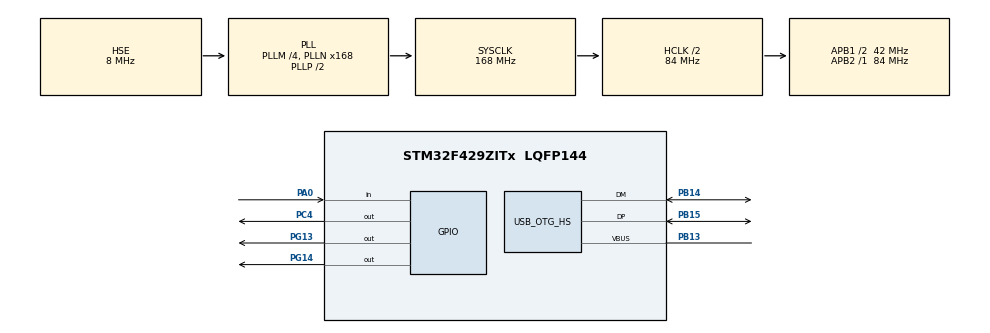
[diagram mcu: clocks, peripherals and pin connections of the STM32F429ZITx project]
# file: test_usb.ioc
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FATFS._MAX_SS=4096
Mcu.Family=STM32F4
Mcu.Name=STM32F429ZITx
Mcu.Package=LQFP144
NVIC.OTG_HS_IRQn=true\:0\:0\:false\:false\:true\:false\:true
NVIC.PriorityGroup=NVIC_PRIORITYGROUP_4
PA0/WKUP.Signal=GPIO_Input
PB13.Mode=Activate_VBUS_FS
PB13.Signal=USB_OTG_HS_VBUS
PB14.Mode=Host_FS
PB14.Signal=USB_OTG_HS_DM
PB15.Mode=Host_FS
PB15.Signal=USB_OTG_HS_DP
PC4.Signal=GPIO_Output
PG13.Signal=GPIO_Output
PG14.Signal=GPIO_Output
PH0/OSC_IN.Mode=HSE-External-Oscillator
PH0/OSC_IN.Signal=RCC_OSC_IN
PH1/OSC_OUT.Mode=HSE-External-Oscillator
PH1/OSC_OUT.Signal=RCC_OSC_OUT
ProjectManager.HeapSize=0x200
ProjectManager.StackSize=0x400
ProjectManager.TargetToolchain=MDK-ARM V5
RCC.48MHZClocksFreq_Value=48000000
RCC.AHBCLKDivider=RCC_SYSCLK_DIV2
RCC.AHBFreq_Value=84000000
RCC.APB1CLKDivider=RCC_HCLK_DIV2
RCC.APB1Freq_Value=42000000
RCC.APB1TimFreq_Value=84000000
RCC.APB2Freq_Value=84000000
RCC.APB2TimFreq_Value=84000000
RCC.CortexFreq_Value=84000000
RCC.HCLKFreq_Value=84000000
RCC.HSE_VALUE=8000000
RCC.HSI_VALUE=16000000
RCC.LSE_VALUE=32768
RCC.PLLM=4
RCC.PLLN=168
RCC.PLLQ=7
RCC.SYSCLKFreq_VALUE=168000000
RCC.SYSCLKSource=RCC_SYSCLKSOURCE_PLLCLK
RCC.VCOOutputFreq_Value=336000000
USB_HOST.USBH_HandleTypeDef-MSC_HS=hUsbHostHS
USB_HOST.VirtualModeHS=Msc
USB_OTG_HS.VirtualMode-Host_FS=Host_FS
VP_FATFS_VS_USB.Mode=USB
VP_USB_HOST_VS_USB_HOST_MSC_HS.Mode=MSC_HS
board=custom

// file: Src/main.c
/* USER CODE BEGIN Header */
/**
  ******************************************************************************
  * @file           : main.c
  * @brief          : Main program body
  ******************************************************************************
  * @attention
  *
  * <h2><center>&copy; Copyright (c) 2019 STMicroelectronics.
  * All rights reserved.</center></h2>
  *
  * This software component is licensed by ST under Ultimate Liberty license
  * SLA0044, the "License"; You may not use this file except in compliance with
  * the License. You may obtain a copy of the License at:
  *                             www.st.com/SLA0044
  *
  ******************************************************************************
  */
/* USER CODE END Header */

#include "main.h"
#include "fatfs.h"
#include "usb_host.h"

/* USER CODE BEGIN Includes */
#include <string.h>
//#include <stdio.h>
//#include <stdlib.h>
#include <stdbool.h>
/* USER CODE END Includes */

/* USER CODE BEGIN PV */
extern ApplicationTypeDef Appli_state;
FATFS myUsbFatFS;
char USBH_Path[4];

FIL myFile;
FRESULT res;
UINT byteswritten, bytesread;
 char rwtext[10000];  //Read/Write buf

bool Usb_Write_float(float data_s[100], float data_duty[100], float data_count[100]);//+++
float data_c[200],data_s[200],data_duty[200],data_count[200];//+++++
char data0[10],data1[10],data2[10],data3[100],text[100];
int i=0;
int gui(float data_s[100], float data_duty[100], float data_count[100]);//+++
void noichuoi(char s1[100],char s2[100]);//+++++
//2. USB test Read function
bool UsbTest_Read(void);

int n=0;
int data_i=0;
//float data_s=3.14215;
/* USER CODE END PV */

void SystemClock_Config(void);
static void MX_GPIO_Init(void);
void MX_USB_HOST_Process(void);

int main(void)
{

  /* MCU Configuration--------------------------------------------------------*/

  /* Reset of all peripherals, Initializes the Flash interface and the Systick. */

  HAL_Init();

  /* Configure the system clock */
  SystemClock_Config();

  /* Initialize all configured peripherals */
  MX_GPIO_Init();
  MX_FATFS_Init();
  MX_USB_HOST_Init();

  /* Infinite loop */
  while (1)
  {
    MX_USB_HOST_Process();

    /* USER CODE BEGIN 3 */
		switch(Appli_state)
		{
			case APPLICATION_IDLE:
				n=10;
				break;

			case APPLICATION_START:
				n=2;
				if(f_mount(&myUsbFatFS, (TCHAR const*)USBH_Path, 0) == FR_OK)
				{
					n=2;
					HAL_GPIO_WritePin(GPIOG,GPIO_PIN_13, 1);
				}
				break;

			case APPLICATION_READY:

				n=3;
				if(HAL_GPIO_ReadPin(GPIOA,GPIO_PIN_0) == 1)
				{
					for( i=0;i<100;i++)
					{
						data_s[i]=i;
						data_duty[i]=i;
						data_count[i]=i;
					}
//					gui(data_s,data_duty,data_count);
					Usb_Write_float(data_s, data_duty,data_count) ;

				}
				n=0;
				HAL_GPIO_WritePin(GPIOG,GPIO_PIN_13, 0);

				break;

			case APPLICATION_DISCONNECT:
				n=4;
				//Turn Green LED OFF
				//HAL_GPIO_WritePin(LED1_GPIO_Port, LED1_Pin, GPIO_PIN_RESET);
				break;
		}
  }
  /* USER CODE END 3 */
}

void SystemClock_Config(void)
{
  RCC_OscInitTypeDef RCC_OscInitStruct = {0};
  RCC_ClkInitTypeDef RCC_ClkInitStruct = {0};

  /** Configure the main internal regulator output voltage
  */
  __HAL_RCC_PWR_CLK_ENABLE();
  __HAL_PWR_VOLTAGESCALING_CONFIG(PWR_REGULATOR_VOLTAGE_SCALE3);
  /** Initializes the CPU, AHB and APB busses clocks
  */
  RCC_OscInitStruct.OscillatorType = RCC_OSCILLATORTYPE_HSE;
  RCC_OscInitStruct.HSEState = RCC_HSE_ON;
  RCC_OscInitStruct.PLL.PLLState = RCC_PLL_ON;
  RCC_OscInitStruct.PLL.PLLSource = RCC_PLLSOURCE_HSE;
  RCC_OscInitStruct.PLL.PLLM = 4;
  RCC_OscInitStruct.PLL.PLLN = 168;
  RCC_OscInitStruct.PLL.PLLP = RCC_PLLP_DIV2;
  RCC_OscInitStruct.PLL.PLLQ = 7;
  if (HAL_RCC_OscConfig(&RCC_OscInitStruct) != HAL_OK)
  {
    Error_Handler();
  }
  /** Initializes the CPU, AHB and APB busses clocks
  */
  RCC_ClkInitStruct.ClockType = RCC_CLOCKTYPE_HCLK|RCC_CLOCKTYPE_SYSCLK
                              |RCC_CLOCKTYPE_PCLK1|RCC_CLOCKTYPE_PCLK2;
  RCC_ClkInitStruct.SYSCLKSource = RCC_SYSCLKSOURCE_PLLCLK;
  RCC_ClkInitStruct.AHBCLKDivider = RCC_SYSCLK_DIV2;
  RCC_ClkInitStruct.APB1CLKDivider = RCC_HCLK_DIV2;
  RCC_ClkInitStruct.APB2CLKDivider = RCC_HCLK_DIV1;

  if (HAL_RCC_ClockConfig(&RCC_ClkInitStruct, FLASH_LATENCY_2) != HAL_OK)
  {
    Error_Handler();
  }
}

static void MX_GPIO_Init(void)
{
  GPIO_InitTypeDef GPIO_InitStruct = {0};

  /* GPIO Ports Clock Enable */
  __HAL_RCC_GPIOH_CLK_ENABLE();
  __HAL_RCC_GPIOA_CLK_ENABLE();
  __HAL_RCC_GPIOC_CLK_ENABLE();
  __HAL_RCC_GPIOB_CLK_ENABLE();
  __HAL_RCC_GPIOG_CLK_ENABLE();

  /*Configure GPIO pin Output Level */
  HAL_GPIO_WritePin(GPIOC, GPIO_PIN_4, GPIO_PIN_RESET);

  /*Configure GPIO pin Output Level */
  HAL_GPIO_WritePin(GPIOG, GPIO_PIN_13|GPIO_PIN_14, GPIO_PIN_RESET);

  /*Configure GPIO pin : PA0 */
  GPIO_InitStruct.Pin = GPIO_PIN_0;
  GPIO_InitStruct.Mode = GPIO_MODE_INPUT;
  GPIO_InitStruct.Pull = GPIO_NOPULL;
  HAL_GPIO_Init(GPIOA, &GPIO_InitStruct);

  /*Configure GPIO pin : PC4 */
  GPIO_InitStruct.Pin = GPIO_PIN_4;
  GPIO_InitStruct.Mode = GPIO_MODE_OUTPUT_PP;
  GPIO_InitStruct.Pull = GPIO_NOPULL;
  GPIO_InitStruct.Speed = GPIO_SPEED_FREQ_LOW;
  HAL_GPIO_Init(GPIOC, &GPIO_InitStruct);

  /*Configure GPIO pins : PG13 PG14 */
  GPIO_InitStruct.Pin = GPIO_PIN_13|GPIO_PIN_14;
  GPIO_InitStruct.Mode = GPIO_MODE_OUTPUT_PP;
  GPIO_InitStruct.Pull = GPIO_NOPULL;
  GPIO_InitStruct.Speed = GPIO_SPEED_FREQ_LOW;
  HAL_GPIO_Init(GPIOG, &GPIO_InitStruct);

}

/* USER CODE BEGIN 4 */
bool Usb_Write_float(float data_s[100], float data_duty[100], float data_count[100])
{

	if(f_open(&myFile, "TEST2.txt", FA_WRITE| FA_CREATE_ALWAYS) !=FR_OK)
	{
		return 0;
	}
//	for( i=0; i<1000; i++)
//	{
//		res = f_read(&myFile, (uint8_t*)&rwtext[i], 1, &bytesread);
//		if(rwtext[i] == 0x00) // NULL string
//		{
//			bytesread = i;
//			break;
//		}
//	}

	for(i=0;i<100;i++)
	{
		sprintf(data0,"%.3f",data_s[i]);
		sprintf(data1,"%.3f",data_duty[i]);
		sprintf(data2,"%.3f",data_count[i]);

		snprintf(data3,100,"%s%s%s%s%s%s", data0,"\t",data1,"\t",data2,"\n");
		strcat(rwtext,data3);

//		noichuoi(rwtext,data);
//		strncat(rwtext,data,6);
//		strncat(rwtext,"\t",6);
//
//		sprintf(data,"%.3f",data_count[i]);
//		strncat(rwtext,data,6);
//		strncat(rwtext,"\t",6);
//
//		sprintf(data,"%.3f",data_duty[i]);
//		strncat(rwtext,data,6);
//		strncat(rwtext,"\n",6);

		HAL_Delay(1);
	}

	res = f_write(&myFile,(const void *)rwtext, strlen(rwtext),&byteswritten);
		if(res!= FR_OK||(byteswritten==0))
	{
		return 0;
	}
	sprintf(rwtext, "");
	f_close(&myFile);
	return 1;
}
//int gui(float data_s[100], float data_duty[100], float data_count[100])
//	{
//		for(int i=0;i<50;i++)
//		{
//			Usb_Write_float(data_s[i],1,0);
//			HAL_Delay(1);
//			Usb_Write_float(data_duty[i],1,0);
//			HAL_Delay(1);
//			Usb_Write_float(data_count[i],0,1);
//			HAL_Delay(1);
//		}
//		return 0;
//	}
//bool Usb_Write_float(float data_s)
//{
//	char data[10];
//	//Open or Create file for writing
//	if(f_open(&myFile, "TEST2.TXT", FA_WRITE) != FR_OK)
//	{
//		return 0;
//	}
//	//read file
//	char data_receve[100];
//	for(uint8_t i=0; i<100; i++)
//	{
//		res = f_read(&myFile, (uint8_t*)&rwtext[i], 1, &bytesread);
//		if(rwtext[i] == 0x00) // NULL string
//		{
//			data_receve[i]=rwtext[i];
//			bytesread = i;
//			break;
//		}
//	}
//	HAL_Delay(1);
//	//if(bytesread==0) return 0;
//	char text[100];
//	int number_read=strlen(rwtext);
//
//	sprintf(data,"%.3f",data_s);
//
//	//Copy test Text to my temporary read/write buffer
//	sprintf(text, " \n Hello! data you is: 111: ");
//	//Write to text file
//	strcat(rwtext,data_receve);
//	strcat(rwtext,text);
//	strcat(rwtext,data);
//	res = f_write(&myFile, (const void *)rwtext, strlen(rwtext), &byteswritten);
//
//	if((res != FR_OK) || (byteswritten == 0))
//	{
//		return 0;
//	}
//	f_close(&myFile);
//	return 1; //Success
//}

//2. USB test Read function
bool UsbTest_Read(void)
{
	//Open file for reading
	if(f_open(&myFile, "TEST2.TXT", FA_READ) != FR_OK)
	{
		return 0;
	}

	//Read text from files until NULL
	for(uint8_t i=0; i<100; i++)
	{
		res = f_read(&myFile, (uint8_t*)&rwtext[i], 1, &bytesread);
		if(rwtext[i] == 0x00) // NULL string
		{

			bytesread = i;
			break;
		}
	}
	//Reading error handling
	if(bytesread==0) return 0;

	//Close file
	f_close(&myFile);
	return 1;  // success

}
/* USER CODE END 4 */

void Error_Handler(void)
{
}

/************************ (C) COPYRIGHT STMicroelectronics *****END OF FILE****/
